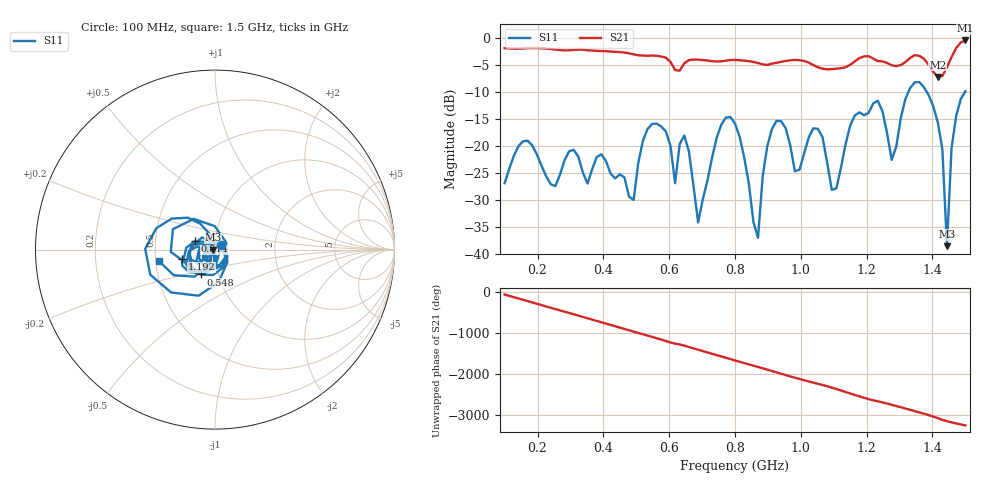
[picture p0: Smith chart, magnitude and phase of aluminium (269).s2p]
! NanoVNA-App
! Date: 2025-09-25 14:57:22
! Start: 100MHz Stop: 1,5GHz Points: 101
! S-Parameter data: F S11 S21 S12 S22
# Hz S RI R 50
!  Frequency  S11_Real  S11_Imag  S21_Real  S21_Imag  S12_Real  S12_Imag  S22_Real  S22_Imag
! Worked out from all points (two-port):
!   101 points, 100 MHz to 1.5 GHz, reference 50 ohm
!   highest |S21| = -0.49 dB at 1.5 GHz (marker M1); lowest = -7.3 dB at 1.416 GHz (marker M2)
!   |S21| within 3 dB of the highest: start of sweep to 577.5 MHz; 1.459 GHz to end of sweep (the widest 2 of 4)
!   lowest |S11| = -38.6 dB at 1.444 GHz (marker M3), VSWR 1.02, Z = 48.8 - j0.123 ohm
!   |S11| at or under -10 dB: start of sweep to 1.327 GHz; 1.382 GHz to 1.499 GHz (116.9 MHz wide, 8.11 % of centre)
!   S12 and S22 are empty: the file has one direction only
!   S11 on the Smith chart (normalised r, x): 100 MHz: 1.07, +0.06; 548 MHz: 0.82, -0.23; 814 MHz: 0.80, +0.07; 1.192 GHz: 0.69, -0.07; 1.5 GHz: 0.52, -0.07
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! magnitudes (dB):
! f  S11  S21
! 100 MHz  -27.0  -1.9
! 338 MHz  -25.0  -2.2
! 492 MHz  -30.1  -3.1
! 548 MHz  -16.0  -3.3
! 576 MHz  -16.4  -3.5
! 618 MHz  -26.9  -6.0
! 646 MHz  -18.1  -4.7
! 688 MHz  -34.2  -4.1
! 800 MHz  -15.9  -4.1
! 814 MHz  -18.3  -4.2
! 870 MHz  -37.1  -4.7
! 912 MHz  -16.9  -4.8
! 982 MHz  -24.7  -4.1
! 1.038 GHz  -16.8  -5.1
! 1.094 GHz  -28.2  -5.8
! 1.192 GHz  -14.4  -3.4
! 1.276 GHz  -22.6  -5.1
! 1.346 GHz  -8.2  -3.2
! 1.416 GHz  -15.6  -7.3
! 1.444 GHz  -38.6  -5.5
! 1.458 GHz  -20.4  -3.6
! 1.5 GHz  -9.9  -0.5
